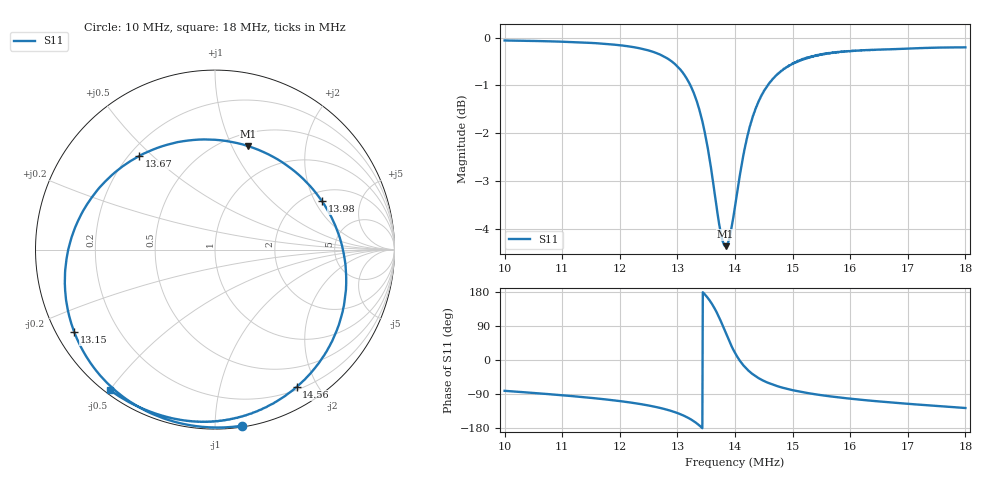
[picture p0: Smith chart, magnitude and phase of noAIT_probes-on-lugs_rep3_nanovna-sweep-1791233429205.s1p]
! NanoVNA Web complex sweep
! Processing: unaveraged complex samples; linear segment spacing; no smoothing
# Hz S RI R 50
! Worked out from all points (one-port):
!   1010 points, 10 MHz to 18 MHz, reference 50 ohm
!   lowest |S11| = -4.4 dB at 13.84 MHz (marker M1), VSWR 4.07, Z = 31.8 + j57.8 ohm
!   |S11| at or under -10 dB: nowhere
!   S11 on the Smith chart (normalised r, x): 10 MHz: 0.01, -1.16; 13.15 MHz: 0.05, -0.27; 13.67 MHz: 0.24, +0.45; 13.98 MHz: 2.42, +2.29; 14.56 MHz: 0.23, -1.73; 18 MHz: 0.01, -0.50
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1e7  0.1493 -0.9819
1.100698e7  -0.054 -0.9887
1.200604e7  -0.3121 -0.9308
1.260071e7  -0.5273 -0.8085
1.282272e7  -0.6277 -0.7149
1.300509e7  -0.7169 -0.5962
1.314781e7  -0.784 -0.4606
1.330639e7  -0.8338 -0.2414
1.345704e7  -0.8037 0.0523
1.356805e7  -0.6729 0.3088
1.361562e7  -0.5747 0.415
1.367113e7  -0.4232 0.521
1.375835e7  -0.118 0.611
1.383764e7  0.1846 0.5766
1.3909e7  0.4238 0.4519
1.398036e7  0.5957 0.2707
1.400414e7  0.637 0.2021
1.405965e7  0.7013 0.0444
1.412308e7  0.7302 -0.1275
1.427373e7  0.6794 -0.4481
1.440852e7  0.5767 -0.6348
1.455918e7  0.455 -0.7653
1.474947e7  0.3172 -0.8603
1.50032e7  0.1669 -0.9239
1.545515e7  -0.0317 -0.9578
1.600225e7  -0.2023 -0.9464
1.700131e7  -0.4208 -0.8782
1.800036e7  -0.5837 -0.7833
